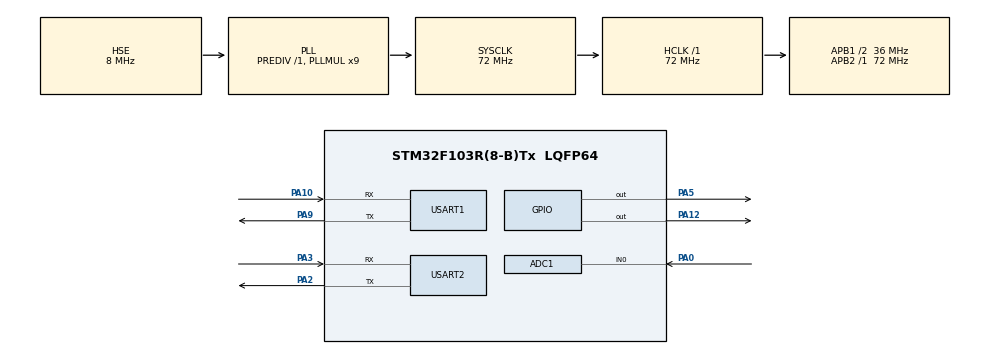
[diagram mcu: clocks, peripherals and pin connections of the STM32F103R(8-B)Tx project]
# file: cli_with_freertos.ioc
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ADC1.Channel-1\#ChannelRegularConversion=ADC_CHANNEL_0
ADC1.ContinuousConvMode=ENABLE
ADC1.NbrOfConversion=1
ADC1.NbrOfConversionFlag=1
ADC1.Rank-1\#ChannelRegularConversion=1
ADC1.SamplingTime-1\#ChannelRegularConversion=ADC_SAMPLETIME_71CYCLES_5
ADC1.master=1
Dma.Request0=USART1_RX
Dma.USART1_RX.0.Direction=DMA_PERIPH_TO_MEMORY
Dma.USART1_RX.0.Instance=DMA1_Channel5
Dma.USART1_RX.0.MemDataAlignment=DMA_MDATAALIGN_BYTE
Dma.USART1_RX.0.MemInc=DMA_MINC_ENABLE
Dma.USART1_RX.0.Mode=DMA_CIRCULAR
Dma.USART1_RX.0.PeriphDataAlignment=DMA_PDATAALIGN_BYTE
Dma.USART1_RX.0.PeriphInc=DMA_PINC_DISABLE
Dma.USART1_RX.0.Priority=DMA_PRIORITY_LOW
Mcu.Family=STM32F1
Mcu.Name=STM32F103R(8-B)Tx
Mcu.Package=LQFP64
NVIC.DMA1_Channel5_IRQn=true\:0\:0\:false\:false\:true\:false\:true\:true
NVIC.PriorityGroup=NVIC_PRIORITYGROUP_4
PA0-WKUP.Signal=ADCx_IN0
PA10.Mode=Asynchronous
PA10.Signal=USART1_RX
PA12.PinState=GPIO_PIN_SET
PA12.Signal=GPIO_Output
PA13.Mode=Serial_Wire
PA13.Signal=SYS_JTMS-SWDIO
PA14.Mode=Serial_Wire
PA14.Signal=SYS_JTCK-SWCLK
PA2.Mode=Asynchronous
PA2.Signal=USART2_TX
PA3.Mode=Asynchronous
PA3.Signal=USART2_RX
PA5.PinState=GPIO_PIN_SET
PA5.Signal=GPIO_Output
PA9.Mode=Asynchronous
PA9.Signal=USART1_TX
PD0-OSC_IN.Mode=HSE-External-Oscillator
PD0-OSC_IN.Signal=RCC_OSC_IN
PD1-OSC_OUT.Mode=HSE-External-Oscillator
PD1-OSC_OUT.Signal=RCC_OSC_OUT
ProjectManager.HeapSize=0x200
ProjectManager.StackSize=0x400
ProjectManager.TargetToolchain=STM32CubeIDE
RCC.ADCPresc=RCC_ADCPCLK2_DIV6
RCC.AHBFreq_Value=72000000
RCC.APB1CLKDivider=RCC_HCLK_DIV2
RCC.APB1Freq_Value=36000000
RCC.APB1TimFreq_Value=72000000
RCC.APB2Freq_Value=72000000
RCC.APB2TimFreq_Value=72000000
RCC.HCLKFreq_Value=72000000
RCC.PLLMUL=RCC_PLL_MUL9
RCC.PLLSourceVirtual=RCC_PLLSOURCE_HSE
RCC.SYSCLKFreq_VALUE=72000000
RCC.SYSCLKSource=RCC_SYSCLKSOURCE_PLLCLK
RCC.USBFreq_Value=72000000
SH.ADCx_IN0.0=ADC1_IN0,IN0
USART1.VirtualMode=VM_ASYNC
USART2.VirtualMode=VM_ASYNC
board=custom

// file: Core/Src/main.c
/* USER CODE BEGIN Header */
/**
  ******************************************************************************
  * @file           : main.c
  * @brief          : Main program body
  ******************************************************************************
  * @attention
  *
  * Copyright (c) 2024 STMicroelectronics.
  * All rights reserved.
  *
  * This software is licensed under terms that can be found in the LICENSE file
  * in the root directory of this software component.
  * If no LICENSE file comes with this software, it is provided AS-IS.
  *
  ******************************************************************************
  */
/* USER CODE END Header */
#include "main.h"
#include "adc.h"
#include "dma.h"
#include "usart.h"
#include "gpio.h"

/* USER CODE BEGIN PD */
typedef enum {
	KEY_NONE=0,
	UP,
	DOWN,
	LEFT,
	RIGHT,
	END,
	HOME,
	DEL,
	BACKSPACE,
	ENTER,
	IS_WORD,
	KEY_ERROR
}keytype;

#define send_buffer_length 64
#define FW_START_ADD  0x08000000+1024*60
#define F103_RB_START_ADD 0x08000000
#define F103_RB_END_ADD 0x0801FFFF
/* USER CODE END PD */

/* USER CODE BEGIN PV */
uint8_t command_tx[5];
uint8_t send_buffer[send_buffer_length];
typedef struct{
	uint8_t command_buffer[32];
	uint8_t command_index;
	uint8_t cursor_index;
}command_component;

command_component data[3];
uint8_t data_num=0;
uint16_t led1_toggle_time=100;
uint16_t led2_toggle_time=100;
bool led1_toggle=false;
bool led2_toggle=false;
static const uint16_t crc_table[256] = {
    0x0000, 0x1021, 0x2042, 0x3063, 0x4084, 0x50a5, 0x60c6, 0x70e7,
    0x8108, 0x9129, 0xa14a, 0xb16b, 0xc18c, 0xd1ad, 0xe1ce, 0xf1ef,
    0x1231, 0x0210, 0x3273, 0x2252, 0x52b5, 0x4294, 0x72f7, 0x62d6,
    0x9339, 0x8318, 0xb37b, 0xa35a, 0xd3bd, 0xc39c, 0xf3ff, 0xe3de,
    0x2462, 0x3443, 0x0420, 0x1401, 0x64e6, 0x74c7, 0x44a4, 0x5485,
    0xa56a, 0xb54b, 0x8528, 0x9509, 0xe5ee, 0xf5cf, 0xc5ac, 0xd58d,
    0x3653, 0x2672, 0x1611, 0x0630, 0x76d7, 0x66f6, 0x5695, 0x46b4,
    0xb75b, 0xa77a, 0x9719, 0x8738, 0xf7df, 0xe7fe, 0xd79d, 0xc7bc,
    0x48c4, 0x58e5, 0x6886, 0x78a7, 0x0840, 0x1861, 0x2802, 0x3823,
    0xc9cc, 0xd9ed, 0xe98e, 0xf9af, 0x8948, 0x9969, 0xa90a, 0xb92b,
    0x5af5, 0x4ad4, 0x7ab7, 0x6a96, 0x1a71, 0x0a50, 0x3a33, 0x2a12,
    0xdbfd, 0xcbdc, 0xfbbf, 0xeb9e, 0x9b79, 0x8b58, 0xbb3b, 0xab1a,
    0x6ca6, 0x7c87, 0x4ce4, 0x5cc5, 0x2c22, 0x3c03, 0x0c60, 0x1c41,
    0xedae, 0xfd8f, 0xcdec, 0xddcd, 0xad2a, 0xbd0b, 0x8d68, 0x9d49,
    0x7e97, 0x6eb6, 0x5ed5, 0x4ef4, 0x3e13, 0x2e32, 0x1e51, 0x0e70,
    0xff9f, 0xefbe, 0xdfdd, 0xcffc, 0xbf1b, 0xaf3a, 0x9f59, 0x8f78,
    0x9188, 0x81a9, 0xb1ca, 0xa1eb, 0xd10c, 0xc12d, 0xf14e, 0xe16f,
    0x1080, 0x00a1, 0x30c2, 0x20e3, 0x5004, 0x4025, 0x7046, 0x6067,
    0x83b9, 0x9398, 0xa3fb, 0xb3da, 0xc33d, 0xd31c, 0xe37f, 0xf35e,
    0x02b1, 0x1290, 0x22f3, 0x32d2, 0x4235, 0x5214, 0x6277, 0x7256,
    0xb5ea, 0xa5cb, 0x95a8, 0x8589, 0xf56e, 0xe54f, 0xd52c, 0xc50d,
    0x34e2, 0x24c3, 0x14a0, 0x0481, 0x7466, 0x6447, 0x5424, 0x4405,
    0xa7db, 0xb7fa, 0x8799, 0x97b8, 0xe75f, 0xf77e, 0xc71d, 0xd73c,
    0x26d3, 0x36f2, 0x0691, 0x16b0, 0x6657, 0x7676, 0x4615, 0x5634,
    0xd94c, 0xc96d, 0xf90e, 0xe92f, 0x99c8, 0x89e9, 0xb98a, 0xa9ab,
    0x5844, 0x4865, 0x7806, 0x6827, 0x18c0, 0x08e1, 0x3882, 0x28a3,
    0xcb7d, 0xdb5c, 0xeb3f, 0xfb1e, 0x8bf9, 0x9bd8, 0xabbb, 0xbb9a,
    0x4a75, 0x5a54, 0x6a37, 0x7a16, 0x0af1, 0x1ad0, 0x2ab3, 0x3a92,
    0xfd2e, 0xed0f, 0xdd6c, 0xcd4d, 0xbdaa, 0xad8b, 0x9de8, 0x8dc9,
    0x7c26, 0x6c07, 0x5c64, 0x4c45, 0x3ca2, 0x2c83, 0x1ce0, 0x0cc1,
    0xef1f, 0xff3e, 0xcf5d, 0xdf7c, 0xaf9b, 0xbfba, 0x8fd9, 0x9ff8,
    0x6e17, 0x7e36, 0x4e55, 0x5e74, 0x2e93, 0x3eb2, 0x0ed1, 0x1ef0
};

typedef enum{
	SOH=0x01,
	STX=0x02,
	EOT=0x04,
	ACK=0x06,
	NAK=0x15,
	CAN=0x18,
} ymodem_protocol_name;

typedef enum{
	HEX=16,
	DEC=10
} type_nubmer;

uint8_t rx_ymodem[1024+5];
uint8_t rx_1bit;
uint16_t rx_index=0;
uint8_t send_buffer[send_buffer_length];
bool uart1_send_flag = false;

/* USER CODE END PV */

void SystemClock_Config(void);
/* USER CODE BEGIN PFP */
//@user function begin

//@HAL function
extern HAL_StatusTypeDef HAL_UART_Receive_DMA(UART_HandleTypeDef *huart, uint8_t *pData, uint16_t Size);
extern HAL_StatusTypeDef UART_Start_Receive_DMA(UART_HandleTypeDef *huart, uint8_t *pData, uint16_t Size);

//@is function
bool is_same_word(uint8_t *buf,uint8_t *compare,uint8_t start_compare);
keytype is_command(uint8_t *buf,uint8_t i);

//@cli function
void cli_start(uint8_t i,keytype key_input);
void command_input(uint8_t *buf);

//@translate function
uint8_t chartoint(uint8_t ascii);
uint32_t string_to_num(char *input_string, bool* is_number, type_nubmer num_type); //ref @type_nubmer

//@ymodem function
void ymodem_transmit();
void ymodem_fw_update();

//@uart function
void uart_send_1bit(uint8_t uart_num,uint8_t *send_1bit_buffer);
void uart_send(uint8_t uart_num, char *fmt,...);
void HAL_UART_RxCpltCallback(UART_HandleTypeDef *huart);

//@flash function
bool flash_erase(uint32_t start_address,uint8_t data_len);
void flash_read(uint32_t address,uint32_t bit_num);
bool flash_write(uint32_t start_address,uint32_t data_len,uint8_t *data);

uint32_t string_to_num(char *input_string, bool* is_number, type_nubmer num_type){
    uint16_t length = strlen(input_string);
    uint32_t ret = 0;
    if (num_type == DEC){
		for(uint32_t i=0;i<length;i++){
			if((input_string[i] >= (int)'0') && (input_string[i] <= (int) '9'))
			{
				*is_number=true;
				ret = input_string[i]-((int)'0') + ret * num_type;
			}
			else if(input_string[i] == ' '){
				return ret;
			}
			else{
				*is_number=false;
				return 0;
			}
		}
    }
    else if (num_type == HEX){
		for(uint32_t i=0;i<length;i++){
			if((input_string[i] >= (int)'0') && (input_string[i] <= (int) '9'))
			{
				*is_number=true;
				ret = input_string[i]-((int)'0') + ret * num_type;
			}
			else if((input_string[i] >= (int)'A') && (input_string[i] <= (int) 'F')){
				*is_number=true;
				ret = input_string[i]-55 + ret * num_type;
			}
			else if((input_string[i] >= (int)'a') && (input_string[i] <= (int) 'f')){
				*is_number=true;
				ret = input_string[i]-87 + ret * num_type;
			}
			else if(input_string[i] == ' '){
				return ret;
			}
			else{
				*is_number=false;
				return 0;
			}
		}
    }
    return ret;
}

void flash_read(uint32_t address,uint32_t bit_num){
	uint8_t *data=(uint8_t *)address;
	uart_send(1,"\n");
	for(uint32_t i=0;i<bit_num;i++){
		uart_send(1,"data adress : 0x%08X, data : 0x%02X\n",address+i,data[i]);
	}
}

bool flash_erase(uint32_t start_address,uint8_t data_len)
{
  uint32_t NbOfPages = 0;
  uint32_t start_page = (start_address - F103_RB_START_ADD)/FLASH_PAGE_SIZE;
  start_page = start_page * 1024 + F103_RB_START_ADD;
  uint32_t PageError = 0;
  /* Variable contains Flash operation status */
  HAL_StatusTypeDef status;
  FLASH_EraseInitTypeDef eraseinitstruct;

  /* Get the number of sector to erase from 1st sector */
  NbOfPages =
    (data_len / FLASH_PAGE_SIZE) + 1;
  eraseinitstruct.TypeErase = FLASH_TYPEERASE_PAGES;
  eraseinitstruct.PageAddress = start_page;
  eraseinitstruct.NbPages = NbOfPages;
  HAL_FLASH_Unlock();
  status = HAL_FLASHEx_Erase(&eraseinitstruct, &PageError);
  HAL_FLASH_Lock();
  if (status != HAL_OK)
  {
    return false;
  }
  return true;
}

bool flash_write(uint32_t start_address,uint32_t data_len,uint8_t *data){
	bool ret = false;
	flash_erase(start_address,data_len);
	HAL_FLASH_Unlock();
	uint16_t send_data=0;
	for(uint32_t i=0;i<data_len;i+=2){
		send_data+=data[i+1]<<8;
		send_data+=data[i];
		if(HAL_FLASH_Program(FLASH_TYPEPROGRAM_HALFWORD,start_address+i,(uint16_t)send_data)==HAL_OK){
			ret = true;
			send_data=0;
		}
		else{
			ret=false;
		}
	}
	HAL_FLASH_Lock();
	return ret;
}

uint8_t chartoint(uint8_t ascii){
	return ascii-48;
}

void uart_send_1bit(uint8_t uart_num,uint8_t *send_1bit_buffer){
	if(uart_num==1){
		HAL_UART_Transmit(&huart1,send_1bit_buffer,1,100);
	}
	else if(uart_num==2){
		HAL_UART_Transmit(&huart2,send_1bit_buffer,1,100);
	}
}

uint16_t calculate_crc16(uint8_t *data, int length) {
    uint16_t crc = 0;
    for (int i = 0; i < length; i++) {
        crc = (crc << 8) ^ crc_table[((crc >> 8) ^ data[i]) & 0xFF];
    }
    return crc;
}

void ymodem_transmit(){
	HAL_UART_DMAStop(&huart1);
	UART_Start_Receive_DMA(&huart1,&rx_1bit,1);

	HAL_Delay(100);
	bool send_c_flag=true;
	bool first_send_eot=true;
	bool loop_do=true;

	uint8_t _1bit_buffer;
	uint32_t file_size=0;
	uint8_t file_index;
	uint8_t file_name[64];
	memset(file_name,0,64);
	memset(rx_ymodem,0,1029);
	rx_index=0;

	uart_send(1,"\n");
	while(loop_do){
		uart1_send_flag=true;
		if(send_c_flag){
			HAL_Delay(100);
			_1bit_buffer='C';
			uart_send_1bit(1,&_1bit_buffer);
			_1bit_buffer='C';
			uart_send_1bit(1,&_1bit_buffer);
		}
		if(rx_ymodem[0]==SOH){
			HAL_Delay(10);
			for(file_index=3;file_index<128;file_index++){
				file_name[file_index-3]=rx_ymodem[file_index];
				if(rx_ymodem[file_index]==0){
					file_index++;
					break;
				}
			}
			for(;file_index<128;file_index++){
				if(rx_ymodem[file_index]==' '){
					break;
				}
				else{
					file_size=chartoint(rx_ymodem[file_index])+file_size*10;
				}
			}
			memset(rx_ymodem,0,1029);
			rx_index=0;

			_1bit_buffer=ACK;
			uart_send_1bit(1,&_1bit_buffer);
			_1bit_buffer='C';
			uart_send_1bit(1,&_1bit_buffer);
			send_c_flag=false;
		}
		else if(rx_1bit==EOT && first_send_eot){
			_1bit_buffer=NAK;
			uart_send_1bit(1,&_1bit_buffer);
			first_send_eot=false;
		}
		else if(rx_1bit==EOT && !first_send_eot){
			first_send_eot=true;
			_1bit_buffer=ACK;
			uart_send_1bit(1,&_1bit_buffer);
			_1bit_buffer='C';
			uart_send_1bit(1,&_1bit_buffer);

			_1bit_buffer=ACK;
			uart_send_1bit(1,&_1bit_buffer);
			_1bit_buffer='C';
			uart_send_1bit(1,&_1bit_buffer);

			loop_do=false;
			uart1_send_flag=false;
			rx_1bit=0;

			uart_send(2,"\n+++++++++++++++++++++++++++++++++++++++++\n");
			uart_send(2,"\nsend_complete!\n");
			uart_send(2,"INFO)\nfile name : ");
			uart_send(2,"%s",file_name);
			uart_send(2,"\n");
			uart_send(2,"file size : ");
			uart_send(2,"%lu",file_size);
			uart_send(2,"\n");
			HAL_UART_DMAStop(&huart1);
			UART_Start_Receive_DMA(&huart1,&command_tx[0],5);;
		}
		else if(rx_ymodem[0]==STX){
			HAL_Delay(100);
			uint16_t crc_val = calculate_crc16(rx_ymodem+3, 1024);
			uint16_t crc16_val = rx_ymodem[1027]<<8;
			crc16_val+=rx_ymodem[1028];
			if(crc16_val != crc_val){
				uart_send(2,"crc incorrect!\n");
				uart_send(1,"crc incorrect!\n");
			}
			/*buffer send_occur*/
			for(uint16_t i=3;i<=1026;i++){
				uart_send_1bit(2,&rx_ymodem[i]);
			}
			memset(rx_ymodem,0,1029);
			rx_index=0;
			_1bit_buffer=ACK;
			uart_send_1bit(1,&_1bit_buffer);
			send_c_flag=false;
		  }
	}
}

void HAL_UART_RxCpltCallback(UART_HandleTypeDef *huart)
{
	if(huart->Instance==USART1){
		if(uart1_send_flag){
			rx_ymodem[rx_index++]=rx_1bit;
			HAL_UART_Receive_DMA(&huart1,&rx_1bit,1);
		}
		else{
			HAL_UART_Receive_DMA(&huart1,&command_tx[0],5);
		}
	}
	UNUSED(huart);
}

void uart_send(uint8_t uart_num, char *fmt,...){
	va_list arg;
	va_start(arg,fmt);
	vsnprintf((char *)send_buffer,send_buffer_length,fmt,arg);
	if(uart_num==1){
		HAL_UART_Transmit(&huart1,send_buffer,send_buffer_length,100);
	}
	else if(uart_num==2){
		HAL_UART_Transmit(&huart2,send_buffer,send_buffer_length,100);
	}
	memset(send_buffer,0,send_buffer_length);
	va_end(arg);
}

keytype is_command(uint8_t *buf,uint8_t i){
	keytype type_key = KEY_NONE;
	switch (buf[i]){
		case 0x1b:
			HAL_Delay(1);
			switch(buf[(i+2)%5]){
				case 0x44:
					type_key = LEFT;
					break;
				case 0x43:
					type_key = RIGHT;
					break;
				case 0x42:
					type_key = DOWN;
					break;
				case 0x41:
					type_key = UP;
					break;
				case 0x34:
					type_key = END;
					break;
				case 0x31:
					type_key = HOME;
					break;
				default:
					type_key = KEY_ERROR;
					break;
			}
			break;
		case 0x7f:
			type_key = DEL;
			break;
		case 0x08:
			type_key = BACKSPACE;
			break;
		case 0x0d:
			type_key = ENTER;
			break;
		default:
			break;
	}
	if(buf[i]>=32 && buf[i]<=126){
		type_key=IS_WORD;
	}
	return type_key;
}
/*
 * compare uint8_t buf and compare if they are completely same character return
 * true. else they are not same character return false
*/
bool is_same_word(uint8_t *buf,uint8_t *compare,uint8_t start_compare){
    bool ret=false;
    uint8_t end_compare=strlen((const char *)compare);
    for (uint8_t i=start_compare;i<start_compare+end_compare;i++){
        if(compare[i-start_compare]==0){
            ret=false;
            break;
        }
        if (buf[i]==compare[i-start_compare]){
            ret=true;
        }
        else if(buf[i]!=compare[i-start_compare]){
            ret=false;
            break;
        }
    }
    return ret;
}

void command_input(uint8_t *buf){
	bool existing_command = false;
	uint8_t word_len=0;
	uint32_t flash_start_address;

	if(is_same_word(buf,(uint8_t *)"help",0)){
		uart_send(1,"\n---------------------------------------------------");
		uart_send(1,"----------------\n\n");
		uart_send(1,"\t\t\tcommand_list\n\n");
		uart_send(1,"1. printf [string] : print string at terminal.\n");
		uart_send(1,"note) ledx : x can be 1, 2 value.\n");
		uart_send(1,"2. ledx [on/off] : on/off led\n");
		uart_send(1,"3. ledx toggle [number] : toggle led with user set number\n");
		uart_send(1,"4. adc read : read adc voltage val, where reference voltage,");
		uart_send(1,"is 3.3V.\n");
		uart_send(1,"5. clear [x] : clear uart terminal, x can be 1,2.\n");
		uart_send(1,"6. ymodem transmit : transmit data with ymodem.\n");
		uart_send(1,"7. ymodem fw update : update fw.\n");
		uart_send(1,"note) start adrress must have 8 length.\n");
		uart_send(1,"8. flash read 0x[start adrress] [num]: read flash memory.\n");
		uart_send(1,"9. flash erase 0x[start adrress] [num] : erase flash memory.\n");
		uart_send(1,"10. flash write 0x[start adrress] : write flash memory.\n");
		uart_send(1,"\n---------------------------------------------------");
		uart_send(1,"----------------\n\n");
		existing_command = true;
	}
	else if(is_same_word(buf,(uint8_t *)"printf",0)){
		word_len=strlen("printf")+1;
		uart_send(1,"\n%s",buf+word_len);
		existing_command = true;
	}
	else if(is_same_word(buf,(uint8_t *)"flash read ",0)){
		word_len=strlen("flash read 0x");
		bool is_number;
		flash_start_address = string_to_num((char *)&buf[word_len],&is_number,HEX);
		if(!is_number){
			uart_send(1,"\nsend val %s is not number\n",buf+word_len);
		}
		word_len=strlen("flash read 0x00000000 ");
		uint16_t flash_read_val = string_to_num((char *)&buf[word_len],&is_number,DEC);
		if(is_number){
			flash_read(flash_start_address,flash_read_val);
		}
		else{
			uart_send(1,"\nsend val %s is not number\n",buf+word_len);
		}
		existing_command = true;
	}
	else if(is_same_word(buf,(uint8_t *)"flash erase ",0)){
		word_len=strlen("flash erase 0x");
		bool is_number;
		flash_start_address = string_to_num((char *)&buf[word_len],&is_number,HEX);
		if(!is_number){
			uart_send(1,"\nsend val %s is not number\n",buf+word_len);
		}
		word_len=strlen("flash erase 0x00000000 ");
		uint16_t flash_erase_val = string_to_num((char *)&buf[word_len],&is_number,DEC);
		if(is_number){
			if(flash_erase(flash_start_address,flash_erase_val)){
				uart_send(1,"\nerase complete!\n");
			}
			else{
				uart_send(1,"\nerase fail!\n");
			}
		}
		else{
			uart_send(1,"\nsend val %s is not number\n",buf+word_len);
		}
		existing_command = true;
		}
	else if(is_same_word(buf,(uint8_t *)"flash write ",0)){
		word_len=strlen("flash write 0x");
		bool is_number;
		flash_start_address = string_to_num((char *)&buf[word_len],&is_number,HEX);
		if(!is_number){
			uart_send(1,"\nsend val %s is not number\n",buf+word_len);
		}
		word_len=strlen("flash write 0x00000000 ");
		uint16_t flash_write_val = string_to_num((char *)&buf[word_len],&is_number,DEC);
		uint8_t *data=(uint8_t *)malloc(sizeof(uint8_t)*flash_write_val);
		memset(data,2,flash_write_val);
		if(is_number){
			if(flash_write(flash_start_address,flash_write_val,data)){
				uart_send(1,"\nwirte complete!\n");
			}
			else{
				uart_send(1,"\nwirte fail!\n");
			}
		}
		else{
			uart_send(1,"\nsend val %s is not number\n",buf+word_len);
		}
		existing_command = true;
		}
	else if(is_same_word(buf,(uint8_t *)"clear",0)){
		uart_send(1,"\x1B[2J");
		uart_send(2,"\x1B[2J");
		existing_command = true;
	}
	else if(is_same_word(buf,(uint8_t *)"clear 1",0)){
		uart_send(1,"\x1B[2J");
		existing_command = true;
	}
	else if(is_same_word(buf,(uint8_t *)"clear 2",0)){
		uart_send(2,"\x1B[2J");
		existing_command = true;
	}
	else if(is_same_word(buf,(uint8_t *)"ymodem transmit",0)){
		ymodem_transmit();
		existing_command = true;
	}
	else if(is_same_word(buf,(uint8_t *)"ymodem fw update",0)){
		ymodem_fw_update();
		existing_command = true;
	}
	else if(is_same_word(buf,(uint8_t *)"adc read",0)){
		uint32_t adc_val = HAL_ADC_GetValue(&hadc1);
		adc_val *= 3.3;
		uart_send(1,"\nadc voltage:%dV",(uint16_t)adc_val/4096);
		existing_command = true;
	}
	else if(is_same_word(buf,(uint8_t *)"led",0)){
		word_len=strlen("led");
		if(is_same_word(buf,(uint8_t *)"1",word_len)){
			word_len+=2;
			if(is_same_word(buf,(uint8_t *)"on",word_len)){
				led1_toggle=false;
				HAL_GPIO_WritePin(GPIOA,GPIO_PIN_5,GPIO_PIN_SET);
				existing_command = true;
			}
			else if(is_same_word(buf,(uint8_t *)"off",word_len)){
				led1_toggle=false;
				HAL_GPIO_WritePin(GPIOA,GPIO_PIN_5,GPIO_PIN_RESET);
				existing_command = true;
			}
			else if(is_same_word(buf,(uint8_t *)"toggle",word_len)){
				word_len=strlen("led1 toggle ");
				bool is_number = false;
				led1_toggle_time = string_to_num((char *)buf+word_len,&is_number,DEC);
				if(!is_number){
					uart_send(1,(char *)"\nerror : toggle time value must be number!");
					return;
				}

				led1_toggle=true;
				existing_command = true;
			}
		}
		else if(is_same_word(buf,(uint8_t *)"2",word_len)){
			word_len+=2;
			if(is_same_word(buf,(uint8_t *)"on",word_len)){
				led2_toggle=false;
				HAL_GPIO_WritePin(GPIOA,GPIO_PIN_12,GPIO_PIN_SET);
				existing_command = true;
			}
			else if(is_same_word(buf,(uint8_t *)"off",word_len)){
				led2_toggle=false;
				HAL_GPIO_WritePin(GPIOA,GPIO_PIN_12,GPIO_PIN_RESET);
				existing_command = true;
			}
			else if(is_same_word(buf,(uint8_t *)"toggle",word_len)){
				word_len=strlen("led2 toggle ");
				bool is_number = false;
				led2_toggle_time = string_to_num((char *)buf+word_len,&is_number,DEC);
				if(!is_number){
					uart_send(1,(char *)"\nerror : toggle time value must be number!");
					return;
				}

				led2_toggle=true;
				existing_command = true;

			}
		}
	}
	if (!existing_command){
		uart_send(1,"\ncommand is not existing. type \'help\' to get command list.");
	}
}

void gpio_led_toggle(uint32_t *led1_time,uint32_t *led2_time){
	if (led1_toggle){
		if (HAL_GetTick()-*led1_time>led1_toggle_time){
			*led1_time=HAL_GetTick();
			HAL_GPIO_TogglePin(GPIOA,GPIO_PIN_5);
		}
	}
	if (led2_toggle){
		if (HAL_GetTick()-*led2_time>led2_toggle_time){
			*led2_time=HAL_GetTick();
			HAL_GPIO_TogglePin(GPIOA,GPIO_PIN_12);
		}
	}
}

void cli_start(uint8_t i,keytype key_input){
	switch (key_input){
		case LEFT:
			if(data[data_num].cursor_index>0){
				data[data_num].cursor_index--;
				uart_send(1,"\x1B[1D");
			}
			break;
		case RIGHT:
			if(data[data_num].cursor_index<32 && data[data_num].cursor_index<data[data_num].command_index){
				data[data_num].cursor_index++;
				uart_send(1,"\x1B[1C");
			}
			break;
		case UP:
			if(data[data_num].cursor_index>0){
				uart_send(1,"\x1B[%dD",data[data_num].cursor_index);
			}
			uart_send(1,"\x1B[0J");
			data_num++;
			data_num%=3;
			uart_send(1,"\x1B[4h%s\x1B[4l",data[data_num].command_buffer);
			data[data_num].cursor_index=data[data_num].command_index;
			break;
		case DOWN:
			if(data[data_num].cursor_index>0){
				uart_send(1,"\x1B[%dD",data[data_num].cursor_index);
			}
			uart_send(1,"\x1B[0J");
			if(data_num>0){
				data_num--;
			}
			else if(data_num==0){
				data_num=2;
			}
			uart_send(1,"\x1B[4h%s\x1B[4l",data[data_num].command_buffer);
			data[data_num].cursor_index=data[data_num].command_index;
			break;
		case END:
			if(data[data_num].command_index>data[data_num].cursor_index){
				uart_send(1,"\x1B[%dC",data[data_num].command_index-data[data_num].cursor_index);
				data[data_num].cursor_index=data[data_num].command_index;
			}
			break;
		case HOME:
			if(data[data_num].cursor_index>0){
				uart_send(1,"\x1B[%dD",data[data_num].cursor_index);
				data[data_num].cursor_index=0;
			}
			break;
		case ENTER:
			/*operating command when enter is pressed*/
			command_input(data[data_num].command_buffer);
			/*end operating*/
			uart_send(1,"\nCLI-# ");
			data_num++;
			data_num%=3;
			memset(data[data_num].command_buffer,0,32);
			data[data_num].command_index=0;
			data[data_num].cursor_index=0;
			break;
		case IS_WORD:
			if(data[data_num].command_index<32){
				data[data_num].command_index++;
				if(data[data_num].command_index-1!=data[data_num].cursor_index){
					for(int8_t j=data[data_num].command_index-1;j>=data[data_num].cursor_index;j--){
						data[data_num].command_buffer[j+1]=data[data_num].command_buffer[j];
					}
				}
				data[data_num].command_buffer[data[data_num].cursor_index++]=command_tx[i];
				uart_send(1,"\x1B[4h%c\x1B[4l",command_tx[i]);
			}
			break;
		case BACKSPACE:
			if(data[data_num].command_index>0 && data[data_num].cursor_index>0){
				data[data_num].command_index--;
				data[data_num].command_buffer[--data[data_num].cursor_index]=0;
				for(int8_t j=data[data_num].cursor_index;j<data[data_num].command_index;j++){
					data[data_num].command_buffer[j]=data[data_num].command_buffer[j+1];
				}
				data[data_num].command_buffer[data[data_num].command_index]=0;
				uart_send(1,"\x1B[1D\x1B[1P");
			}
			break;
		case DEL:
			if(data[data_num].command_index>0 && data[data_num].command_index!=data[data_num].cursor_index){
				data[data_num].command_index--;
				data[data_num].command_buffer[data[data_num].cursor_index]=0;
				for(int8_t j=data[data_num].cursor_index;j<data[data_num].command_index;j++){
					data[data_num].command_buffer[j]=data[data_num].command_buffer[j+1];
				}
				data[data_num].command_buffer[data[data_num].command_index]=0;
				uart_send(1,"\x1B[1P");
			}
			break;
		default:
			break;
	}
	/*
	uart_send(2,"\x1B[2J");
	for (int8_t j=0;j<3;j++){
		uart_send(2,"%d. buffer val:%s\n",j,data[j].command_buffer);
	}
	uart_send(2,"\n\n\n");
	uart_send(2,"num %d command buffer val:%s\n",data_num,data[data_num].command_buffer);
	uart_send(2,"command index:%d cursor index:%d\n",data[data_num].command_index,data[data_num].cursor_index);
	*/
}
/* USER CODE END PFP */

int main(void)
{

  /* MCU Configuration--------------------------------------------------------*/

  /* Reset of all peripherals, Initializes the Flash interface and the Systick. */
  HAL_Init();

  /* Configure the system clock */
  SystemClock_Config();

  /* Initialize all configured peripherals */
  MX_GPIO_Init();
  MX_DMA_Init();
  MX_USART1_UART_Init();
  MX_USART2_UART_Init();
  MX_ADC1_Init();
  /* USER CODE BEGIN 2 */
  UART_Start_Receive_DMA(&huart1,&command_tx[0],5);
  HAL_ADC_Start(&hadc1);
  uint32_t pre_time1=HAL_GetTick();
  uint32_t pre_time2=HAL_GetTick();
  for (int8_t i=0;i<3;i++){
	  memset(data[i].command_buffer,0,32);
  }
  memset(send_buffer,0,32);
  uart_send(1,"CLI-# ");
  /* USER CODE END 2 */

  /* Infinite loop */
  /* USER CODE BEGIN WHILE */
  while (1)
  {
	uint8_t i=0;
	keytype key=KEY_NONE;
	for (;;){
		i=i%5;
		gpio_led_toggle(&pre_time1,&pre_time2);
		key=is_command(&command_tx[0],i);
		if (key!=KEY_NONE){
			break;
		}
		i++;
	  }
	cli_start(i,key);
	memset(command_tx,0,5);
    /* USER CODE END WHILE */

  }
}

void SystemClock_Config(void)
{
  RCC_OscInitTypeDef RCC_OscInitStruct = {0};
  RCC_ClkInitTypeDef RCC_ClkInitStruct = {0};
  RCC_PeriphCLKInitTypeDef PeriphClkInit = {0};

  /** Initializes the RCC Oscillators according to the specified parameters
  * in the RCC_OscInitTypeDef structure.
  */
  RCC_OscInitStruct.OscillatorType = RCC_OSCILLATORTYPE_HSE;
  RCC_OscInitStruct.HSEState = RCC_HSE_ON;
  RCC_OscInitStruct.HSEPredivValue = RCC_HSE_PREDIV_DIV1;
  RCC_OscInitStruct.HSIState = RCC_HSI_ON;
  RCC_OscInitStruct.PLL.PLLState = RCC_PLL_ON;
  RCC_OscInitStruct.PLL.PLLSource = RCC_PLLSOURCE_HSE;
  RCC_OscInitStruct.PLL.PLLMUL = RCC_PLL_MUL9;
  if (HAL_RCC_OscConfig(&RCC_OscInitStruct) != HAL_OK)
  {
    Error_Handler();
  }

  /** Initializes the CPU, AHB and APB buses clocks
  */
  RCC_ClkInitStruct.ClockType = RCC_CLOCKTYPE_HCLK|RCC_CLOCKTYPE_SYSCLK
                              |RCC_CLOCKTYPE_PCLK1|RCC_CLOCKTYPE_PCLK2;
  RCC_ClkInitStruct.SYSCLKSource = RCC_SYSCLKSOURCE_PLLCLK;
  RCC_ClkInitStruct.AHBCLKDivider = RCC_SYSCLK_DIV1;
  RCC_ClkInitStruct.APB1CLKDivider = RCC_HCLK_DIV2;
  RCC_ClkInitStruct.APB2CLKDivider = RCC_HCLK_DIV1;

  if (HAL_RCC_ClockConfig(&RCC_ClkInitStruct, FLASH_LATENCY_2) != HAL_OK)
  {
    Error_Handler();
  }
  PeriphClkInit.PeriphClockSelection = RCC_PERIPHCLK_ADC;
  PeriphClkInit.AdcClockSelection = RCC_ADCPCLK2_DIV6;
  if (HAL_RCCEx_PeriphCLKConfig(&PeriphClkInit) != HAL_OK)
  {
    Error_Handler();
  }
}

void Error_Handler(void)
{
  __disable_irq();
  while (1)
  {
  }
}
